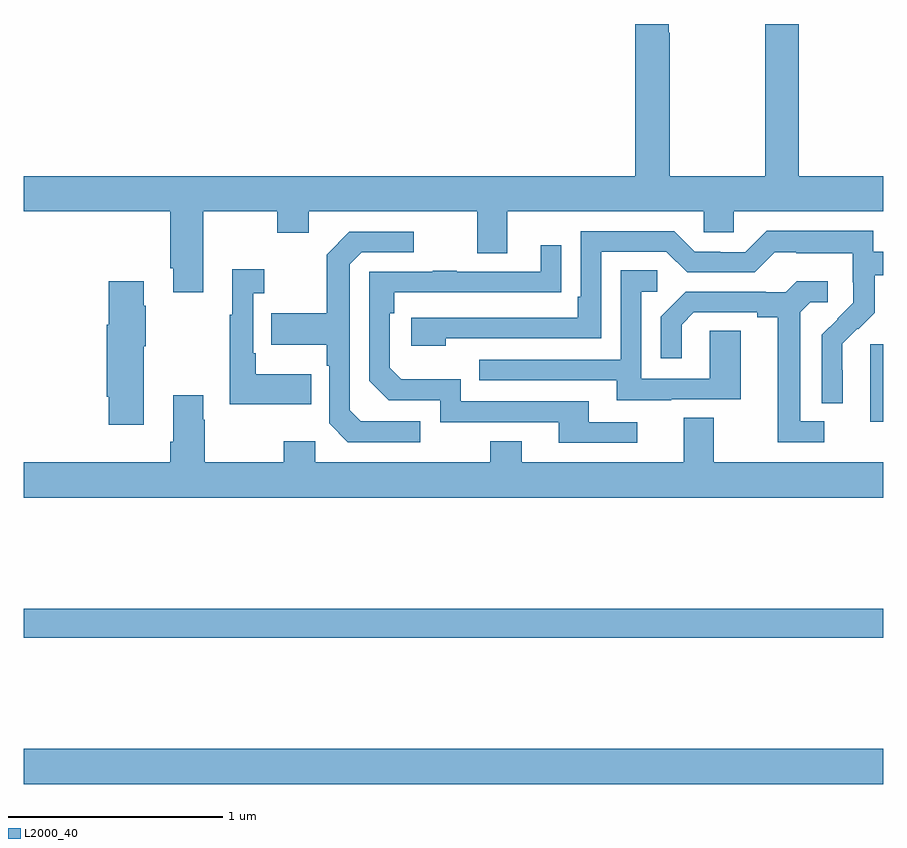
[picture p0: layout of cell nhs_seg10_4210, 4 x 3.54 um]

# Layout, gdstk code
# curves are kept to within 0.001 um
import gdstk
lib = gdstk.Library(unit=1e-6, precision=1e-09)
def R(c, l, rs):  # rectangles x0, y0, x1, y1
    for r in rs: c.add(gdstk.rectangle(r[:2], r[2:], *l))
def P(c, l, *ps):  # polygons
    for p in ps: c.add(gdstk.Polygon(p, *l))
L2000_40 = (2000, 40)

nhs_seg10_4210 = lib.new_cell('nhs_seg10_4210')
R(nhs_seg10_4210, L2000_40, [(345,1318.964,349,1319.128), (345,1319.644,349,1319.78), (348.938,1320.65,349,1321.011)])
P(nhs_seg10_4210, L2000_40, [(345.835,1321.628),(346.18,1321.628),(346.18,1321.529),(346.327,1321.529),(346.327,1321.628),(347.111,1321.628),(347.111,1321.434),(347.251,1321.434),(347.251,1321.628),(348.165,1321.628),(348.165,1321.53),(348.303,1321.53),(348.303,1321.628),(349,1321.628),(349,1321.792),(348.606,1321.792),(348.606,1322.5),(348.451,1322.5),(348.451,1321.792),(348.006,1321.792),(348.006,1322.459),(348.001,1322.459),(348.001,1322.5),(347.846,1322.5),(347.846,1321.792),(345,1321.792),(345,1321.628),(345.683,1321.628),(345.683,1321.363),(345.695,1321.363),(345.695,1321.251),(345.835,1321.251)],
  [(348.81,1320.89),(348.809,1321.013),(348.879,1321.083),(348.882,1321.08),(348.959,1321.157),(348.959,1321.332),(349,1321.332),(349,1321.44),(348.954,1321.44),(348.954,1321.537),(348.457,1321.537),(348.357,1321.437),(348.242,1321.437),(348.242,1321.44),(348.123,1321.44),(348.027,1321.536),(347.592,1321.536),(347.592,1321.231),(347.579,1321.231),(347.579,1321.134),(346.803,1321.134),(346.803,1321.004),(346.964,1321.004),(346.964,1321.038),(347.688,1321.038),(347.688,1321.44),(347.991,1321.44),(348.087,1321.344),(348.402,1321.344),(348.495,1321.437),(348.595,1321.437),(348.595,1321.433),(348.858,1321.433),(348.858,1321.299),(348.86,1321.299),(348.86,1321.202),(348.714,1321.054),(348.714,1320.736),(348.81,1320.736)],
  [(346.846,1320.651),(346.569,1320.651),(346.518,1320.702),(346.518,1321.383),(346.572,1321.437),(346.816,1321.437),(346.816,1321.533),(346.515,1321.533),(346.41,1321.427),(346.41,1321.155),(346.153,1321.155),(346.153,1321.007),(346.41,1321.007),(346.41,1320.911),(346.422,1320.911),(346.422,1320.642),(346.509,1320.555),(346.846,1320.555)],
  [(347.854,1320.648),(347.629,1320.648),(347.629,1320.744),(347.034,1320.744),(347.034,1320.847),(346.757,1320.847),(346.704,1320.9),(346.704,1321.154),(346.724,1321.154),(346.724,1321.251),(347.501,1321.252),(347.501,1321.471),(347.405,1321.471),(347.405,1321.347),(347.015,1321.347),(347.015,1321.352),(346.903,1321.352),(346.903,1321.347),(346.608,1321.347),(346.608,1320.84),(346.698,1320.75),(346.938,1320.75),(346.938,1320.648),(347.489,1320.648),(347.489,1320.552),(347.854,1320.552)],
  [(346.337,1320.871),(346.081,1320.871),(346.081,1320.967),(346.068,1320.967),(346.068,1321.247),(346.12,1321.247),(346.12,1321.36),(345.971,1321.36),(345.971,1321.147),(345.96,1321.147),(345.96,1320.731),(346.337,1320.731)],
  [(348.013,1320.753),(348.337,1320.753),(348.337,1321.073),(348.192,1321.073),(348.192,1320.849),(347.874,1320.849),(347.874,1321.254),(347.947,1321.254),(347.947,1321.355),(347.778,1321.355),(347.778,1320.939),(347.119,1320.939),(347.119,1320.843),(347.759,1320.843),(347.759,1320.749),(348.013,1320.749)],
  [(345.559,1321.001),(345.567,1321.001),(345.567,1321.19),(345.559,1321.19),(345.559,1321.303),(345.397,1321.303),(345.397,1321.101),(345.386,1321.101),(345.386,1320.765),(345.397,1320.765),(345.397,1320.636),(345.559,1320.636)],
  [(348.724,1320.651),(348.613,1320.651),(348.613,1321.159),(348.66,1321.206),(348.742,1321.206),(348.742,1321.303),(348.598,1321.303),(348.546,1321.251),(348.452,1321.251),(348.452,1321.254),(348.08,1321.254),(347.964,1321.138),(347.964,1320.945),(348.061,1320.945),(348.061,1321.101),(348.118,1321.158),(348.413,1321.158),(348.413,1321.136),(348.509,1321.136),(348.509,1320.555),(348.724,1320.555)],
  [(349,1320.46),(348.211,1320.46),(348.211,1320.668),(348.071,1320.668),(348.071,1320.46),(347.317,1320.46),(347.317,1320.559),(347.17,1320.559),(347.17,1320.46),(346.356,1320.46),(346.356,1320.559),(346.21,1320.559),(346.21,1320.46),(345.843,1320.46),(345.843,1320.659),(345.835,1320.659),(345.835,1320.772),(345.695,1320.772),(345.695,1320.556),(345.683,1320.556),(345.683,1320.46),(345,1320.46),(345,1320.296),(349,1320.296)])

lib.write_gds('nhs_seg10_4210.gds')
